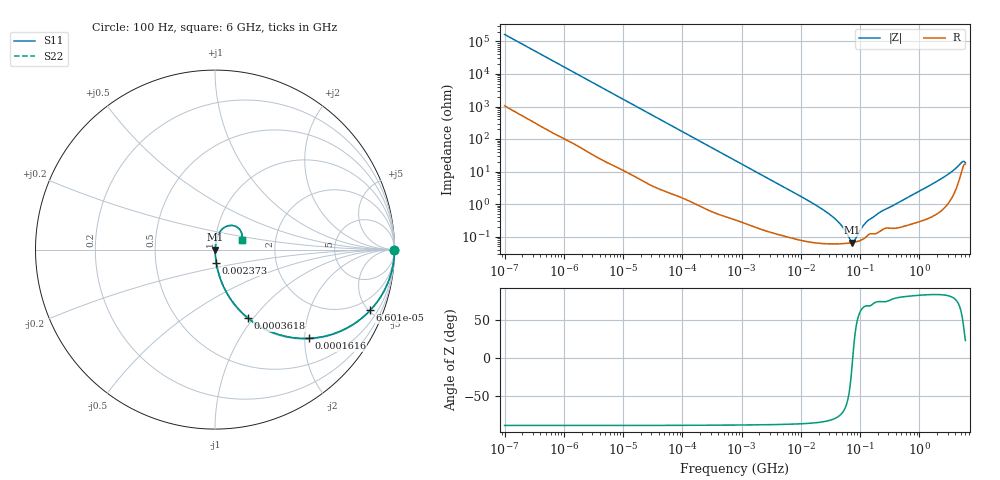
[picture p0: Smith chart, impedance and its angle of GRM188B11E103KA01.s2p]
!Murata Part Number: GRM188B11E103KA01
!These Parameters are Measured in Series Mode Connection
!Data Generated on Mar 30, 2021
!  o--ll--o
!Port1  Port2
!  o------o
!Operation Temp=25[degC], DC Bias Voltage=0[V]
!Freq. Start=100[Hz] Stop=6[GHz] 401[Steps]
# Hz S RI R 50
!Freq.(Hz) S11(Real) S11(Imag) S21(Real) S21(Imag) S12(Real) S12(Imag) S22(Real) S22(Imag)
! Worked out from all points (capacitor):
!   401 points, 100 Hz to 6 GHz, reference 50 ohm
!   read as one part in series: C = 9.69 nF near 109 Hz
!   lowest |Z| = 65.7 mohm at 74.56 MHz (marker M1)
!   series resonance near 75.25 MHz, so ESL is about 460 pH
!   S11 on the Smith chart (normalised r, x): 100 Hz: open; 66 kHz: 1.04, -5.10; 161.6 kHz: 1.02, -2.09; 361.8 kHz: 1.01, -0.94; 2.373 MHz: 1.00, -0.15; 6 GHz: 1.34, +0.15
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100  1 -0.00061  4.3e-06 0.00061  4.3e-06 0.00061  1 -0.00061
2008  0.9998 -0.0121  0.000222 0.0121  0.000222 0.0121  0.9998 -0.0121
12041  0.9944 -0.0716  0.00563 0.0716  0.00563 0.0716  0.9944 -0.0716
40335  0.944 -0.2264  0.056 0.2264  0.056 0.2264  0.944 -0.2264
66005  0.8646 -0.3381  0.1354 0.3381  0.1354 0.3381  0.8646 -0.3381
161617  0.5226 -0.4946  0.4774 0.4946  0.4774 0.4946  0.5226 -0.4946
361830  0.1834 -0.3814  0.8166 0.3814  0.8166 0.3814  0.1834 -0.3814
774597  0.0492 -0.2089  0.9508 0.2089  0.9508 0.2089  0.0492 -0.2089
2372521  0.00679 -0.0721  0.9932 0.0721  0.9932 0.0721  0.00679 -0.0721
1.555665e7  0.000777 -0.0108  0.9992 0.0108  0.9992 0.0108  0.000777 -0.0108
3.983537e7  0.000607 -0.00319  0.9994 0.00319  0.9994 0.00319  0.000607 -0.00319
4.983056e7  0.000609 -0.00199  0.9994 0.00199  0.9994 0.00199  0.000609 -0.00199
6.817316e7  0.000639 -0.000465  0.9994 0.000465  0.9994 0.000465  0.000639 -0.000465
7.455971e7  0.000656 -4.26e-05  0.9993 4.26e-05  0.9993 4.26e-05  0.000656 -4.26e-05
8.154455e7  0.000677 0.00038  0.9993 -0.00038  0.9993 -0.00038  0.000677 0.00038
1.066761e8  0.000795 0.00169  0.9992 -0.00169  0.9992 -0.00169  0.000795 0.00169
1.334425e8  0.00108 0.00283  0.9989 -0.00283  0.9989 -0.00283  0.00108 0.00283
2.183701e8  0.0015 0.00545  0.9985 -0.00545  0.9985 -0.00545  0.0015 0.00545
3.124326e8  0.00188 0.00762  0.9981 -0.00762  0.9981 -0.00762  0.00188 0.00762
3.205649e9  0.0186 0.084  0.9814 -0.084  0.9814 -0.084  0.0186 0.084
5.016141e9  0.0949 0.1349  0.9051 -0.1349  0.9051 -0.1349  0.0949 0.1349
6e9  0.1482 0.053  0.8518 -0.053  0.8518 -0.053  0.1482 0.053
